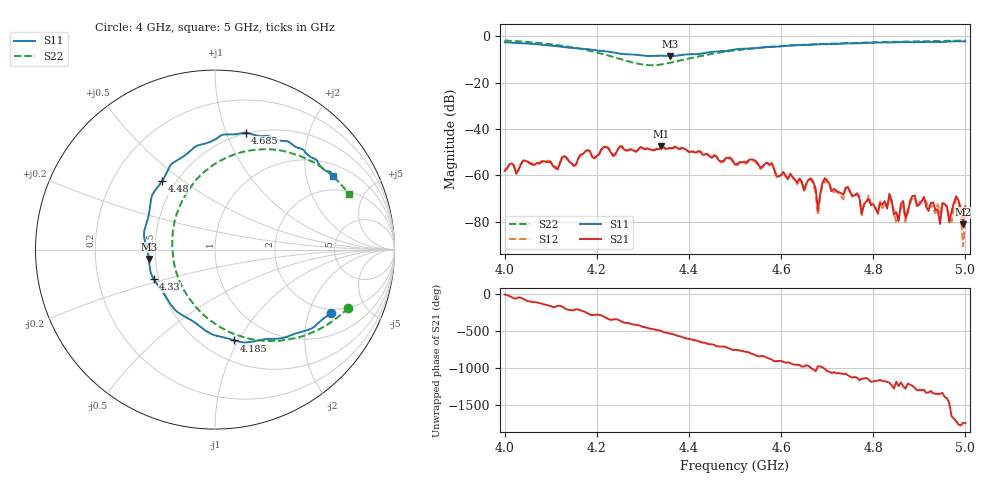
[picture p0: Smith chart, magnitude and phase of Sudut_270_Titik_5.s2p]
# Hz S RI R 50
! CMT, C1220, 16058040, 17.2.0/1
! Date: 15/08/2018 12:23:03
! Data: Format (Calibration Info)
! Freq  S11: Re/Im (F2)  S21: Re/Im (F2)  S12: Re/Im (F2)  S22: Re/Im (F2)
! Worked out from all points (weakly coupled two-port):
!   201 points, 4 GHz to 5 GHz, reference 50 ohm
!   highest |S21| = -47.44 dB at 4.34 GHz (marker M1); lowest = -81.1 dB at 4.995 GHz (marker M2)
!   lowest |S11| = -8.6 dB at 4.36 GHz (marker M3), VSWR 2.19, Z = 23 - j2.76 ohm
!   |S11| at or under -10 dB: nowhere
!   |S22| runs from -12.5 to -1.8 dB; largest |S21 - S12| = 0.00018
!   S11 on the Smith chart (normalised r, x): 4 GHz: 1.83, -2.85; 4.185 GHz: 0.70, -0.96; 4.33 GHz: 0.47, -0.18; 4.48 GHz: 0.42, +0.42; 4.685 GHz: 0.49, +1.17; 5 GHz: 1.40, +2.86
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4e9  0.6488 -0.3536  0.00123 -0.000199  0.00132 -0.000188  0.7422 -0.3242
4.17e9  0.1543 -0.5165  -0.00171 0.00233  -0.00176 0.00228  0.1747 -0.4922
4.185e9  0.108 -0.5064  0.000482 0.00329  0.000423 0.00334  0.1124 -0.4717
4.33e9  -0.3426 -0.1623  -0.00227 -0.003  -0.00234 -0.00284  -0.2379 0.0225
4.335e9  -0.3505 -0.1472  -0.00237 -0.00271  -0.00236 -0.0026  -0.2379 0.0433
4.34e9  -0.3569 -0.1316  -0.00327 -0.00271  -0.00318 -0.00262  -0.2375 0.0637
4.36e9  -0.3686 -0.0518  -0.00384 -7.4e-05  -0.00383 -6.75e-05  -0.2285 0.1411
4.48e9  -0.2956 0.3806  0.00234 0.000246  0.00226 8.41e-05  -0.018 0.4656
4.5e9  -0.2593 0.448  0.00139 -0.000997  0.00132 -0.00102  0.0283 0.494
4.67e9  0.1442 0.6475  0.000341 0.00063  0.000316 0.000543  0.3755 0.5502
4.68e9  0.1626 0.6514  -3.97e-05 0.000174  -3.33e-05 0.000134  0.393 0.5456
4.685e9  0.1708 0.6519  -9.64e-05 0.000391  -8.39e-05 0.000356  0.4009 0.5435
4.695e9  0.1887 0.6476  0.000321 0.000809  0.000299 0.000731  0.4162 0.5396
4.81e9  0.4159 0.597  2.43e-06 -0.000148  -2.3e-05 -0.00016  0.5697 0.4734
4.835e9  0.4583 0.5682  -0.000177 -0.000358  -0.000157 -0.000279  0.5987 0.454
4.855e9  0.4877 0.5594  -9.76e-05 -3.07e-05  -0.000103 -4.33e-05  0.6208 0.4382
4.89e9  0.5307 0.5175  -0.000364 3.17e-05  -0.000332 2.82e-06  0.6544 0.4106
4.945e9  0.5952 0.4553  -2.74e-06 8.89e-05  -5.64e-05 0.000144  0.7018 0.363
4.97e9  0.6367 0.4354  -0.000145 7.97e-05  -8.83e-05 4.72e-05  0.7213 0.3418
4.98e9  0.6437 0.4338  3.57e-05 0.000351  8.86e-05 0.0003  0.7282 0.3318
4.995e9  0.6513 0.4185  3.9e-05 7.87e-05  5.85e-06 2.9e-05  0.74 0.3168
5e9  0.6556 0.4107  0.000107 0.000185  9.12e-06 0.000131  0.7438 0.3124
